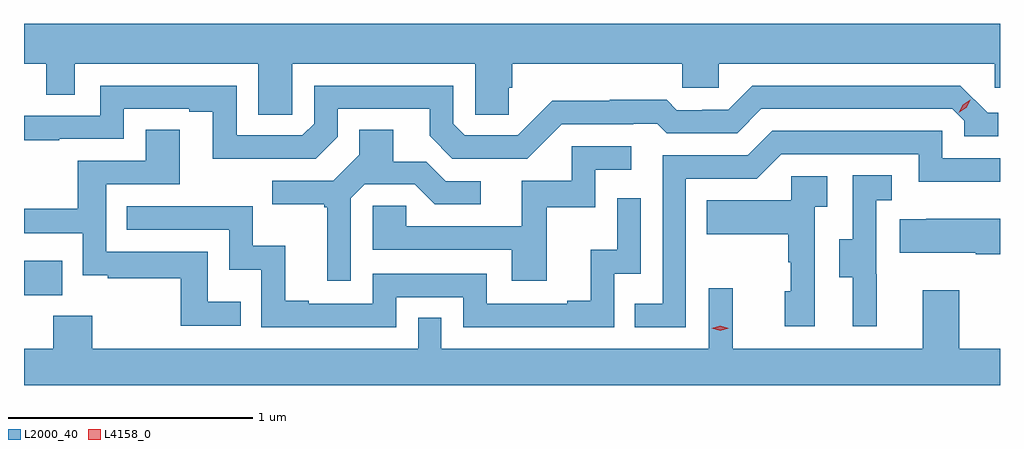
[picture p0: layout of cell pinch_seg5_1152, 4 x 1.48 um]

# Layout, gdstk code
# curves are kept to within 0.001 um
import gdstk
lib = gdstk.Library(unit=1e-6, precision=1e-09)
def R(c, l, rs):  # rectangles x0, y0, x1, y1
    for r in rs: c.add(gdstk.rectangle(r[:2], r[2:], *l))
def P(c, l, *ps):  # polygons
    for p in ps: c.add(gdstk.Polygon(p, *l))
L2000_40 = (2000, 40)
L4158_0 = (4158, 0)

pinch_seg5_1152 = lib.new_cell('pinch_seg5_1152')
R(pinch_seg5_1152, L2000_40, [(864.707,833.168,864.863,833.308)])
P(pinch_seg5_1152, L2000_40, [(865.806,834.116),(866.556,834.116),(866.556,833.908),(866.693,833.908),(866.693,834.018),(866.708,834.018),(866.708,834.116),(867.405,834.116),(867.405,834.018),(867.555,834.018),(867.555,834.116),(868.686,834.116),(868.686,834.018),(868.707,834.018),(868.707,834.28),(864.707,834.28),(864.707,834.116),(864.799,834.116),(864.799,833.989),(864.915,833.989),(864.915,834.116),(865.667,834.116),(865.667,833.908),(865.806,833.908)],
  [(865.686,833.727),(865.902,833.727),(865.992,833.817),(865.992,833.931),(866.369,833.931),(866.369,833.821),(866.463,833.727),(866.769,833.727),(866.91,833.868),(867.203,833.868),(867.203,833.871),(867.302,833.871),(867.341,833.832),(867.63,833.832),(867.729,833.931),(868.512,833.931),(868.56,833.883),(868.56,833.82),(868.699,833.82),(868.699,833.916),(868.656,833.916),(868.545,834.027),(867.692,834.027),(867.593,833.928),(867.486,833.928),(867.486,833.925),(867.383,833.925),(867.341,833.968),(867.108,833.968),(867.108,833.965),(866.872,833.965),(866.73,833.823),(866.514,833.823),(866.466,833.871),(866.466,834.027),(865.896,834.027),(865.896,833.871),(865.848,833.823),(865.578,833.823),(865.578,834.027),(865.02,834.027),(865.02,833.904),(864.707,833.904),(864.707,833.803),(864.851,833.803),(864.851,833.808),(865.116,833.808),(865.116,833.931),(865.385,833.931),(865.385,833.919),(865.481,833.919),(865.481,833.726)],
  [(865.595,833.14),(865.461,833.14),(865.461,833.346),(865.044,833.346),(865.044,833.622),(865.345,833.622),(865.345,833.846),(865.205,833.846),(865.205,833.718),(864.928,833.718),(864.928,833.522),(864.707,833.522),(864.707,833.421),(864.948,833.421),(864.948,833.249),(865.051,833.249),(865.051,833.238),(865.35,833.238),(865.35,833.043),(865.595,833.043)],
  [(866.046,833.565),(866.103,833.622),(866.309,833.622),(866.39,833.541),(866.578,833.541),(866.578,833.634),(866.436,833.634),(866.356,833.714),(866.221,833.714),(866.221,833.846),(866.081,833.846),(866.081,833.744),(865.974,833.637),(865.725,833.637),(865.725,833.54),(865.938,833.54),(865.938,833.529),(865.949,833.529),(865.949,833.226),(866.046,833.226)],
  [(867.42,833.646),(867.711,833.646),(867.81,833.745),(868.374,833.745),(868.374,833.633),(868.707,833.633),(868.707,833.73),(868.47,833.73),(868.47,833.841),(867.773,833.841),(867.674,833.742),(867.324,833.742),(867.324,833.133),(867.211,833.133),(867.211,833.037),(867.42,833.037)],
  [(866.849,833.529),(867.048,833.529),(867.048,833.682),(867.196,833.682),(867.196,833.778),(866.952,833.778),(866.952,833.637),(866.747,833.637),(866.747,833.451),(866.273,833.451),(866.273,833.535),(866.136,833.535),(866.136,833.355),(866.705,833.355),(866.705,833.226),(866.849,833.226)],
  [(868.202,833.253),(868.2,833.253),(868.2,833.557),(868.264,833.557),(868.264,833.66),(868.104,833.66),(868.104,833.397),(868.049,833.397),(868.049,833.242),(868.103,833.242),(868.103,833.04),(868.202,833.04)],
  [(867.948,833.531),(868,833.531),(868,833.655),(867.852,833.655),(867.852,833.557),(867.505,833.557),(867.505,833.417),(867.84,833.417),(867.84,833.303),(867.85,833.303),(867.85,833.184),(867.824,833.184),(867.824,833.04),(867.948,833.04)],
  [(866.232,833.16),(866.508,833.16),(866.508,833.037),(867.126,833.037),(867.126,833.256),(867.234,833.256),(867.234,833.566),(867.138,833.566),(867.138,833.354),(867.029,833.354),(867.029,833.146),(866.933,833.146),(866.933,833.133),(866.604,833.133),(866.604,833.256),(866.136,833.256),(866.136,833.133),(865.873,833.133),(865.873,833.146),(865.777,833.146),(865.777,833.371),(865.644,833.371),(865.644,833.532),(865.129,833.532),(865.129,833.436),(865.548,833.436),(865.548,833.273),(865.68,833.273),(865.68,833.037),(866.232,833.037)],
  [(868.707,833.482),(868.405,833.482),(868.405,833.479),(868.297,833.479),(868.297,833.342),(868.607,833.342),(868.607,833.335),(868.707,833.335)],
  [(868.707,832.948),(868.539,832.948),(868.539,833.188),(868.391,833.188),(868.391,832.948),(867.611,832.948),(867.611,833.197),(867.513,833.197),(867.513,832.948),(866.418,832.948),(866.418,833.075),(866.322,833.075),(866.322,832.948),(864.987,832.948),(864.987,833.083),(864.827,833.083),(864.827,832.948),(864.707,832.948),(864.707,832.799),(868.707,832.799)])
P(pinch_seg5_1152, L4158_0, [(868.537,833.916),(868.537,833.916),(868.554,833.949),(868.585,833.968),(868.585,833.968),(868.585,833.967),(868.568,833.935),(868.537,833.916)],
  [(867.56,833.023),(867.525,833.033),(867.525,833.033),(867.525,833.033),(867.56,833.043),(867.596,833.033),(867.596,833.033),(867.596,833.033)])

lib.write_gds('pinch_seg5_1152.gds')
